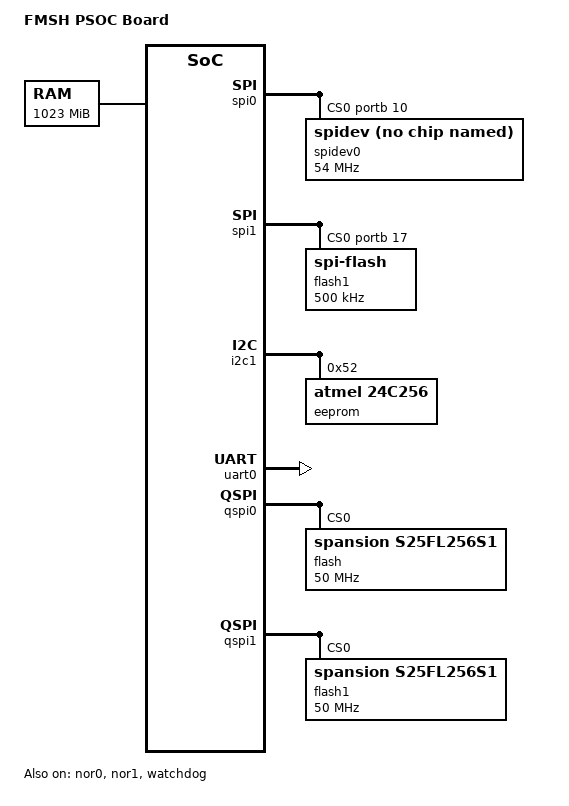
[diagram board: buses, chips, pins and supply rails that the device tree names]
/*
 * FMSH PSOC board DTS
 * Child board C EMMC_SRAM
 *
 * Copyright (C) 2018 FMSH, Inc.
 *
 * SPDX-License-Identifier:	GPL-2.0+
 */

#include "fmsh-psoc.dtsi"

/ {
	model = "FMSH PSOC Board";
	compatible = "fmsh,fmsh-psoc";

	memory {
		device_type = "memory";
		reg = <0x00100000 0x3ff00000>;
	};

	chosen {
		bootargs = "console=ttyPS0,115200 earlyprintk loglevel=8 root=/dev/ram rw";
		// bootargs = "console=ttyPS0,115200 earlyprintk loglevel=8 clk_ignore_unused root=/dev/ram rw";
		/* bootloader will place initrd at this address */
		linux,initrd-start = <0x12000000>;
		linux,initrd-end = <0x12800000>;
	};

        aliases {
              serial0 = &uart0;
              serial1 = &uart1;
        };
};

&nor0 {
	status = "okay";
};

&nor1 {
	status = "okay";
};

&sram0 {
//	status = "okay";
};

&sram1 {
//	status = "okay";
};

&dmahost {
	status = "okay";
};

&watchdog {
	status = "okay";
};

&spi0 {
	cs-gpios = <&portb 10 0>;
//	status = "okay";

	spidev0: spi@0 {
		/* Same as "spidev" but without errors at boot. Search "buggy DT" to understand */
		compatible = "rohm,dh2228fv";
		reg = <0>;
		spi-max-frequency = <54000000>;
	};
};

&spi1 {
	cs-gpios = <&portb 17 0>;
//	status = "okay";

	flash1@0 {
		compatible = "spi-flash","spansion,s25fl256s1", "jedec,spi-nor";
		reg = <0>;
		spi-max-frequency = <500000>;
	};
};

&nand {
//	status = "okay";
};

&can0 {
//	status = "okay";
};

&can1 {
//	status = "okay";
};

&i2c0 {
//	status = "okay";
};

&i2c1 {
//	status = "okay";

	eeprom@52 {
		compatible = "atmel,24c256";
		reg = <0x52>;
	};
};

&mmc0 {
//	status = "okay";
//	clock-freq-min-max = <400000 400000>;
};

&mmc1 {
//	status = "okay";
//	clock-freq-min-max = <400000 400000>;
};

&gmac0 {
//	status = "okay";
};

&gmac1 {
//	status = "okay";
};

&uart0 {
	status = "okay";
};

&uart1 {
//	status = "okay";
};

&qspi0 {
//	status = "okay";

	flash: flash@0 {
		compatible = "spansion,s25fl256s1", "jedec,spi-nor";
		reg = <0>;
		spi-max-frequency = <50000000>;
		cdns,read-delay = <2>;
		cdns,tshsl-ns = <0>;
		cdns,tsd2d-ns = <0>;
		cdns,tchsh-ns = <0>;
		cdns,tslch-ns = <0>;
	};
};

&qspi1 {
//	status = "okay";

	flash1: flash@0 {
		compatible = "spansion,s25fl256s1", "jedec,spi-nor";
		reg = <0>;
		spi-max-frequency = <50000000>;
		cdns,read-delay = <2>;
		cdns,tshsl-ns = <0>;
		cdns,tsd2d-ns = <0>;
		cdns,tchsh-ns = <0>;
		cdns,tslch-ns = <0>;
	};
};

&gpio0 {
	status = "okay";
};

&gpio1 {
	status = "okay";
};

&gpio2 {
	status = "okay";
};

&gpio3 {
	status = "okay";
};

